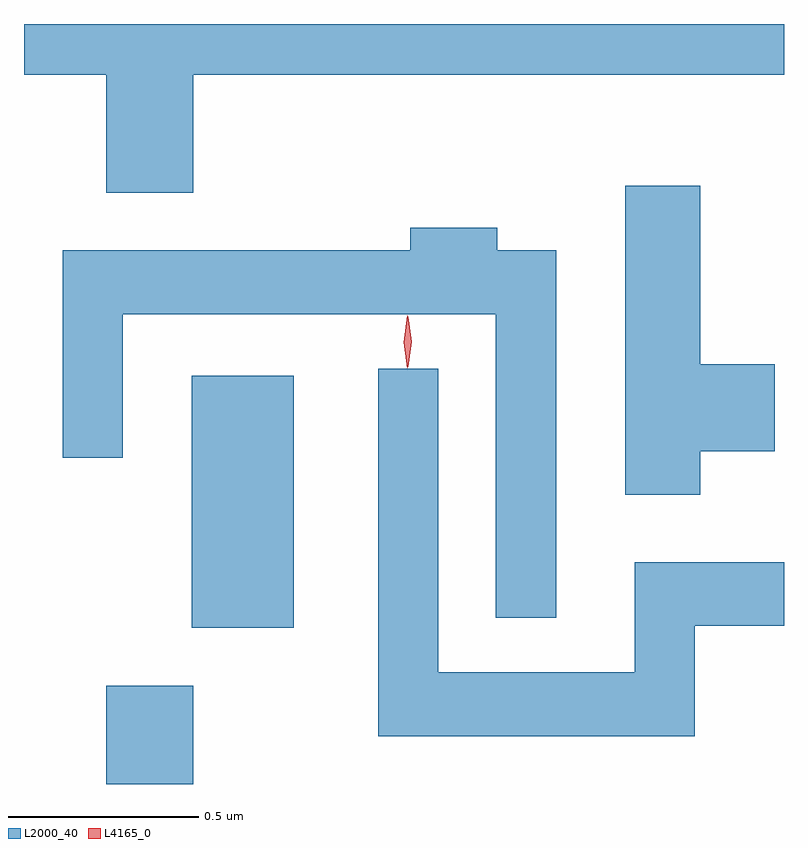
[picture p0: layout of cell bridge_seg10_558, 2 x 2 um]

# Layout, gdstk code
import gdstk
lib = gdstk.Library(unit=1e-6, precision=1e-09)
def R(c, l, rs):  # rectangles x0, y0, x1, y1
    for r in rs: c.add(gdstk.rectangle(r[:2], r[2:], *l))
def P(c, l, *ps):  # polygons
    for p in ps: c.add(gdstk.Polygon(p, *l))
L2000_40 = (2000, 40)
L4165_0 = (4165, 0)

bridge_seg10_558 = lib.new_cell('bridge_seg10_558')
R(bridge_seg10_558, L2000_40, [(768.931,2167.55,769.159,2167.809), (769.156,2167.961,769.424,2168.624)])
P(bridge_seg10_558, L2000_40, [(769.159,2169.416),(770.714,2169.416),(770.714,2169.55),(768.714,2169.55),(768.714,2169.416),(768.931,2169.416),(768.931,2169.106),(769.159,2169.106)],
  [(770.494,2168.426),(770.689,2168.426),(770.689,2168.654),(770.494,2168.654),(770.494,2169.124),(770.296,2169.124),(770.296,2168.311),(770.494,2168.311)],
  [(770.114,2168.954),(769.959,2168.954),(769.959,2169.014),(769.731,2169.014),(769.731,2168.954),(768.816,2168.954),(768.816,2168.408),(768.974,2168.408),(768.974,2168.786),(769.956,2168.786),(769.956,2167.988),(770.114,2167.988)],
  [(770.479,2167.966),(770.714,2167.966),(770.714,2168.134),(770.321,2168.134),(770.321,2167.844),(769.804,2167.844),(769.804,2168.643),(769.646,2168.643),(769.646,2167.676),(770.479,2167.676)])
P(bridge_seg10_558, L4165_0, [(769.722,2168.644),(769.713,2168.713),(769.722,2168.782),(769.723,2168.783),(769.723,2168.782),(769.733,2168.713),(769.723,2168.644),(769.723,2168.644)],
  [(769.724,2168.647),(769.724,2168.648),(769.714,2168.714),(769.724,2168.78),(769.724,2168.781),(769.725,2168.78),(769.734,2168.714),(769.725,2168.648)])

lib.write_gds('bridge_seg10_558.gds')
